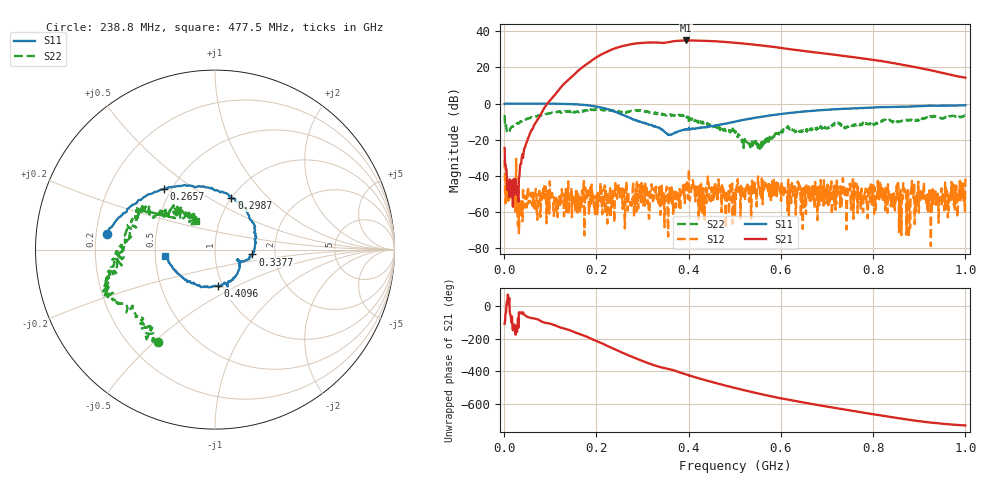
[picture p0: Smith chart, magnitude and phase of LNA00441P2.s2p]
! Created with skrf 1.9.0 (http://scikit-rf.org).
# Hz S RI R 50.0
!freq ReS11 ImS11 ReS21 ImS21 ReS12 ImS12 ReS22 ImS22
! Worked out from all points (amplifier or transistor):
!   1001 points, 1 MHz to 1 GHz, reference 50 ohm
!   highest |S21| = 34.9 dB at 394.6 MHz (marker M1)
!   |S21| within 3 dB of that: 258.5 MHz to 565.7 MHz (307.2 MHz wide, 74.5 % of centre)
!   unconditionally stable (mu >= 1): 209.4 MHz to 248.4 MHz; 298.1 MHz to 400.3 MHz; 400.8 MHz to end of sweep (the widest 3 of 31)
!   at 166.8 MHz: K = 1.39, MAG = 32.2 dB, |S12| = -52.4 dB
!   at 500.5 MHz: K = 10.68, MAG = 34.3 dB, |S12| = -61.4 dB
!   at 1 GHz: K = 1.48, MAG = 23.8 dB, |S12| = -41.4 dB
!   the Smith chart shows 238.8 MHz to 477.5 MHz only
!   S11 on the Smith chart (normalised r, x): 238.8 MHz: 0.24, +0.07; 265.7 MHz: 0.46, +0.38; 298.7 MHz: 1.00, +0.63; 337.7 MHz: 1.52, -0.09; 409.6 MHz: 0.95, -0.40; 477.5 MHz: 0.57, -0.05
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1000000  0.9817 0.000498  -0.0208 -0.056  -0.027 -0.00493  0.3308 0.3552
1.08892e8  0.524 -0.846  -0.7931 -1.501  -5.37e-05 -0.0028  0.4225 -0.3839
1.67833e8  -0.2244 -0.9051  -9.724 -0.5898  0.000122 -0.0014  0.0249 -0.6317
2.08792e8  -0.6682 -0.4099  -15.63 15.79  0.00643 -0.00147  -0.2373 -0.626
2.38762e8  -0.6021 0.0862  -3.421 33.13  0.000366 0.000365  -0.315 -0.5146
2.65735e8  -0.2855 0.3366  19 36.67  -0.00314 -0.00317  -0.4819 -0.3477
2.98702e8  0.0918 0.2874  43.09 20.27  -0.00475 -0.0013  -0.5984 -0.1977
3.17683e8  0.2153 0.1464  48.9 4.419  -0.00305 0.00393  -0.5683 -0.0925
3.34666e8  0.2182 -0.0102  47.81 -9.02  -0.000437 0.00282  -0.5322 -0.0166
3.37663e8  0.2081 -0.0272  47.08 -10.73  -0.00366 0.00128  -0.522 -0.014
3.68632e8  0.1348 -0.0727  44.38 -29.76  0.00284 0.00334  -0.4455 0.186
3.94606e8  0.0875 -0.1736  29.46 -47.46  0.00424 0.00436  -0.3864 0.2404
4.09591e8  0.0153 -0.2039  18.16 -52.59  0.00454 0.00551  -0.2769 0.2056
4.41559e8  -0.1506 -0.1801  -6.523 -53.96  0.00437 0.00866  -0.1912 0.1637
4.77523e8  -0.276 -0.0381  -28.45 -42.44  0.0031 0.00304  -0.1041 0.1606
5.005e8  -0.3046 0.0921  -37.48 -30.95  -0.000844 7.01e-05  -0.0907 0.1272
5.4046e8  -0.2485 0.3135  -41.81 -9.552  0.00418 7.09e-05  -0.0703 0.0226
5.88412e8  -0.0601 0.4909  -34.84 10.43  0.00201 -0.00209  -0.1243 -0.0422
6.67333e8  0.3183 0.5457  -14.15 22.62  0.00287 -0.00173  -0.1901 -0.014
7.55245e8  0.6387 0.375  3.065 19.13  0.0023 -0.00398  -0.2477 0.0304
8.34166e8  0.7928 0.1457  9.734 9.888  -0.00212 -0.00223  -0.3587 0.023
1e9  0.8137 -0.3886  5.164 -0.7235  -0.00842 0.000936  -0.3047 0.3484
